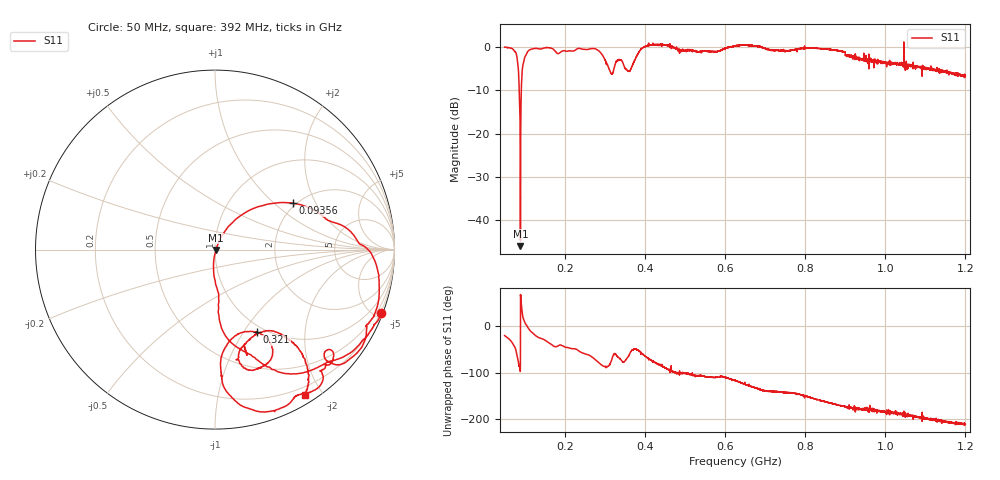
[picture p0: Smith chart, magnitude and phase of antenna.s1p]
! Calibrated high-resolution NanoVNA antenna measurement
# Hz S RI R 50
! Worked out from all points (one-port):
!   40001 points, 50 MHz to 1.2 GHz, reference 50 ohm
!   lowest |S11| = -46.0 dB at 89.53 MHz (marker M1), VSWR 1.01, Z = 50.5 - j0.14 ohm
!   |S11| at or under -10 dB: 86.52 MHz to 91.66 MHz (5.142 MHz wide, 5.77 % of centre)
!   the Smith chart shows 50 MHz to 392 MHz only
!   S11 on the Smith chart (normalised r, x): 50 MHz: 0.12, -5.44; 93.56 MHz: 1.92, +1.33; 321 MHz: 0.92, -1.16; 392 MHz: 0.10, -1.78
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5e7  0.9274 -0.3527
6.785375e7  0.7893 -0.5444
7.883625e7  0.4884 -0.6874
8.5305e7  0.0432 -0.4498
8.953125e7  0.00482 -0.00138
9.355625e7  0.4335 0.2579
9.867375e7  0.6909 0.1422
1.13365e8  0.9132 -0.1625
1.662362e8  0.746 -0.6138
1.9375e8  0.6595 -0.601
2.322175e8  0.5913 -0.749
2.7839e8  0.2607 -0.9042
3.028275e8  0.0323 -0.6764
3.209975e8  0.2355 -0.461
3.375e8  0.2395 -0.661
3.499775e8  0.1421 -0.5531
3.656462e8  0.3285 -0.4563
3.919812e8  0.499 -0.813
4.3065e8  0.1695 -1.047
4.8125e8  -0.1776 -0.9145
5.9349e8  -0.2932 -0.8826
6.25e8  -0.4592 -0.9166
6.858062e8  -0.7203 -0.7148
7.6875e8  -0.7411 -0.548
8.52355e8  -0.9006 -0.2831
9.125e8  -0.7818 -0.0649
1.05625e9  -0.6086 0.1186
1.2e9  -0.4059 0.2268
